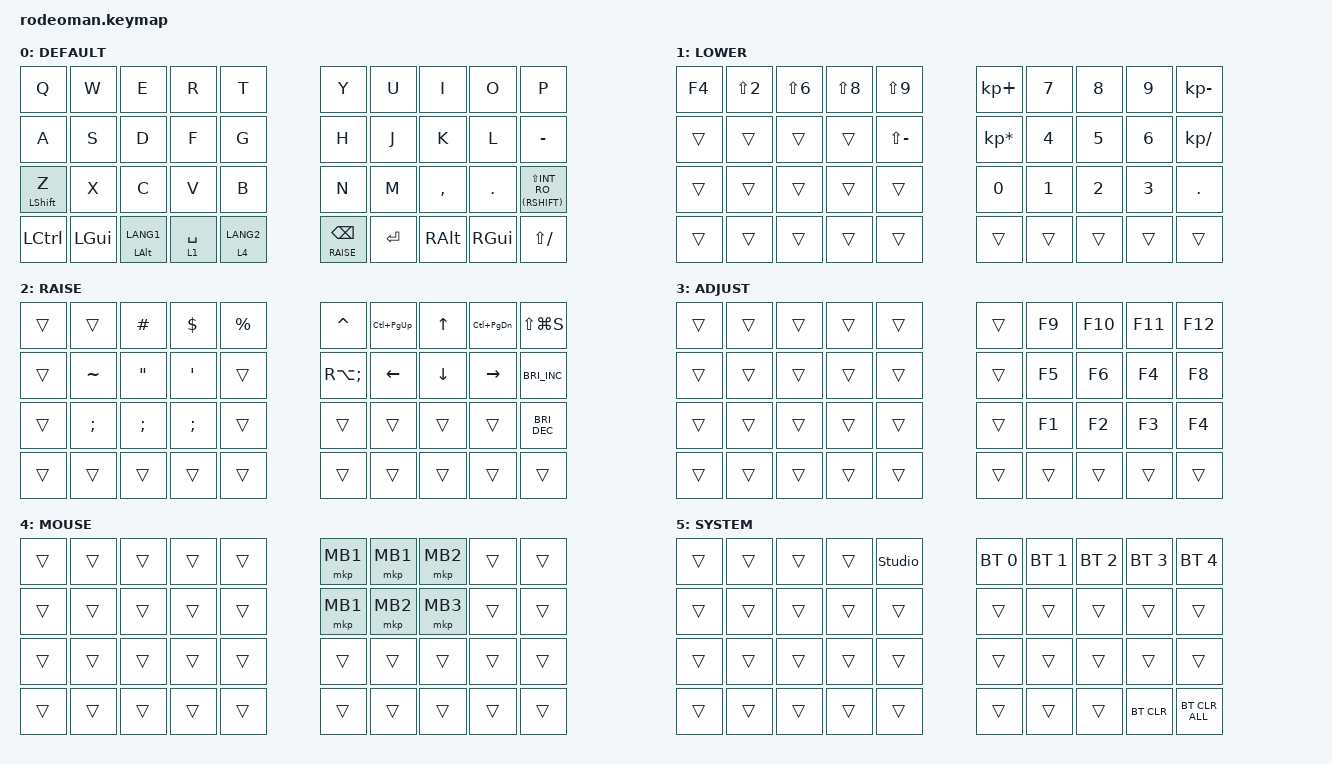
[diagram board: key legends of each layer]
#include <behaviors.dtsi>
#include <dt-bindings/zmk/bt.h>
#include <dt-bindings/zmk/keys.h>
#include <dt-bindings/zmk/pointing.h>

#define DEFAULT 0
#define LOWER 1
#define RAISE 2
#define ADJUST 3
#define MOUSE 4
#define SYSTEM 5

&mt {
    flavor = "balanced";
    tapping-term-ms = <300>;
    quick-tap-ms = <0>;
};

&lt {
    flavor = "balanced";
    tapping-term-ms = <300>;
    quick-tap-ms = <0>;
};

/ {
    conditional_layers {
        compatible = "zmk,conditional-layers";

        tri_layer {
            if-layers = <LOWER RAISE>;
            then-layer = <ADJUST>;
        };
    };

    combos {
        compatible = "zmk,combos";

        esc {
            bindings = <&kp ESC>;
            key-positions = <0 1>;
            timeout-ms = <120>;
        };

        tab {
            bindings = <&kp TAB>;
            key-positions = <10 11>;
            timeout-ms = <120>;
        };

        system_layer {
            bindings = <&mo SYSTEM>;
            key-positions = <30 31 32>;
            timeout-ms = <120>;
        };

        del {
            bindings = <&kp DELETE>;
            key-positions = <9 8>;
        };
    };

    keymap {
        compatible = "zmk,keymap";

        DEFAULT {
            bindings = <
&kp Q  &kp W  &kp E  &kp R  &kp T  &kp Y  &kp U  &kp I  &kp O  &kp P  &kp A  &kp S  &kp D  &kp F  &kp G  &kp H  &kp J  &kp K  &kp L  &kp MINUS  &mt LSHIFT Z  &kp X  &kp C  &kp V  &kp B  &kp N  &kp M  &kp COMMA  &kp DOT  &mt (RSHIFT) LS(INT_RO)  &kp LCTRL  &kp LEFT_GUI  &mt LEFT_ALT LANG1  &lt 1 SPACE  &lt 4 LANG2  &lt RAISE BACKSPACE  &kp ENTER  &kp RALT  &kp RGUI  &kp LS(SLASH)
            >;
        };

        LOWER {
            bindings = <
&kp F4  &kp LS(NUMBER_2)  &kp LS(N6)  &kp LS(N8)  &kp LS(N9)  &kp KP_PLUS  &kp N7  &kp N8  &kp N9  &kp KP_MINUS  &trans  &trans  &trans  &trans  &kp LS(MINUS)  &kp KP_MULTIPLY  &kp N4  &kp N5  &kp N6  &kp KP_SLASH  &trans  &trans  &trans  &trans  &trans  &kp N0  &kp N1  &kp N2  &kp N3  &kp DOT  &trans  &trans  &trans  &trans  &trans  &trans  &trans  &trans  &trans  &trans
            >;
        };

        RAISE {
            bindings = <
&trans  &trans  &kp HASH  &kp DOLLAR  &kp PERCENT  &kp CARET  &kp LC(PAGE_UP)  &kp UP_ARROW  &kp LC(PAGE_DOWN)  &kp LS(LG(S))  &trans  &kp TILDE  &kp DQT  &kp SQT  &trans  &kp RA(SEMI)  &kp LEFT_ARROW  &kp DOWN_ARROW  &kp RIGHT_ARROW  &kp C_BRI_INC  &trans  &kp SEMI  &kp SEMI  &kp SEMICOLON  &trans  &trans  &trans  &trans  &trans  &kp C_BRI_DEC  &trans  &trans  &trans  &trans  &trans  &trans  &trans  &trans  &trans  &trans
            >;
        };

        ADJUST {
            bindings = <
&trans  &trans  &trans  &trans  &trans  &trans  &kp F9  &kp F10  &kp F11  &kp F12  &trans  &trans  &trans  &trans  &trans  &trans  &kp F5  &kp F6  &kp F4  &kp F8  &trans  &trans  &trans  &trans  &trans  &trans  &kp F1  &kp F2  &kp F3  &kp F4  &trans  &trans  &trans  &trans  &trans  &trans  &trans  &trans  &trans  &trans
            >;
        };

        MOUSE {
            bindings = <
&trans  &trans  &trans  &trans  &trans  &mkp MB1  &mkp MB1  &mkp MB2  &trans  &trans  &trans  &trans  &trans  &trans  &trans  &mkp MB1  &mkp MB2  &mkp MB3  &trans  &trans  &trans  &trans  &trans  &trans  &trans  &trans  &trans  &trans  &trans  &trans  &trans  &trans  &trans  &trans  &trans  &trans  &trans  &trans  &trans  &trans
            >;
        };

        SYSTEM {
            bindings = <
&trans  &trans  &trans  &trans  &studio_unlock  &bt BT_SEL 0  &bt BT_SEL 1  &bt BT_SEL 2  &bt BT_SEL 3  &bt BT_SEL 4  &trans  &trans  &trans  &trans  &trans  &trans  &trans  &trans  &trans  &trans  &trans  &trans  &trans  &trans  &trans  &trans  &trans  &trans  &trans  &trans  &trans  &trans  &trans  &trans  &trans  &trans  &trans  &trans  &bt BT_CLR  &bt BT_CLR_ALL
            >;
        };
    };
};
